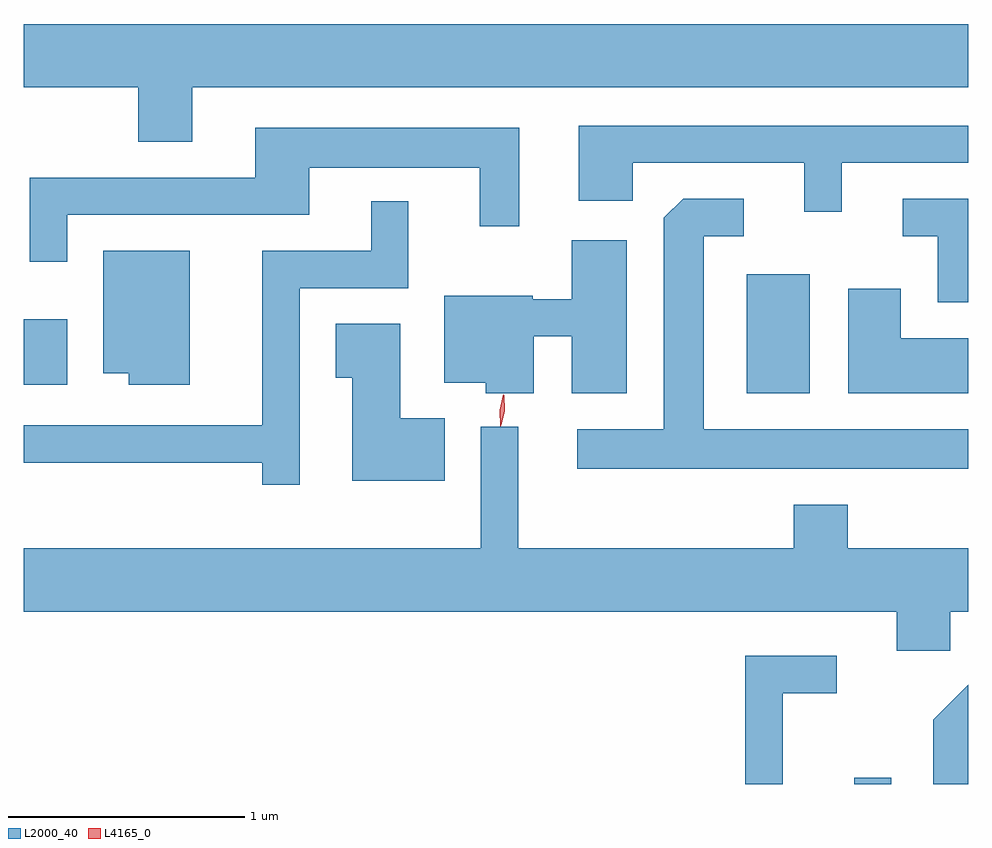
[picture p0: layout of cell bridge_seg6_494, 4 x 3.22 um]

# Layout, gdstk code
import gdstk
lib = gdstk.Library(unit=1e-6, precision=1e-09)
def R(c, l, rs):  # rectangles x0, y0, x1, y1
    for r in rs: c.add(gdstk.rectangle(r[:2], r[2:], *l))
def P(c, l, *ps):  # polygons
    for p in ps: c.add(gdstk.Polygon(p, *l))
L2000_40 = (2000, 40)
L4165_0 = (4165, 0)

bridge_seg6_494 = lib.new_cell('bridge_seg6_494')
R(bridge_seg6_494, L2000_40, [(884.336,1595.926,884.494,1595.953), (883.881,1597.581,884.149,1598.084), (880.82,1597.616,881.004,1597.894)])
P(bridge_seg6_494, L2000_40, [(881.534,1598.876),(884.82,1598.876),(884.82,1599.144),(880.82,1599.144),(880.82,1598.876),(881.306,1598.876),(881.306,1598.646),(881.534,1598.646)],
  [(884.284,1598.556),(884.82,1598.556),(884.82,1598.714),(883.171,1598.714),(883.171,1598.396),(883.399,1598.396),(883.399,1598.556),(884.126,1598.556),(884.126,1598.348),(884.284,1598.348)],
  [(881.004,1598.336),(882.029,1598.336),(882.029,1598.536),(882.751,1598.536),(882.751,1598.288),(882.919,1598.288),(882.919,1598.704),(881.801,1598.704),(881.801,1598.494),(880.846,1598.494),(880.846,1598.138),(881.004,1598.138)],
  [(884.82,1597.429),(883.699,1597.429),(883.699,1598.246),(883.868,1598.246),(883.868,1598.404),(883.612,1598.404),(883.531,1598.324),(883.531,1597.429),(883.163,1597.429),(883.163,1597.261),(884.82,1597.261)],
  [(884.82,1598.404),(884.543,1598.404),(884.543,1598.246),(884.691,1598.246),(884.691,1597.966),(884.82,1597.966)],
  [(881.989,1598.026),(882.449,1598.026),(882.449,1598.393),(882.291,1598.393),(882.291,1598.184),(881.831,1598.184),(881.831,1597.444),(880.82,1597.444),(880.82,1597.286),(881.831,1597.286),(881.831,1597.193),(881.989,1597.193)],
  [(882.979,1597.821),(883.141,1597.821),(883.141,1597.581),(883.374,1597.581),(883.374,1598.229),(883.141,1598.229),(883.141,1597.979),(882.975,1597.979),(882.975,1597.994),(882.601,1597.994),(882.601,1597.626),(882.776,1597.626),(882.776,1597.581),(882.979,1597.581)],
  [(881.524,1598.184),(881.156,1598.184),(881.156,1597.666),(881.266,1597.666),(881.266,1597.616),(881.524,1597.616)],
  [(884.82,1597.814),(884.534,1597.814),(884.534,1598.024),(884.311,1598.024),(884.311,1597.581),(884.82,1597.581)],
  [(882.604,1597.474),(882.414,1597.474),(882.414,1597.874),(882.141,1597.874),(882.141,1597.646),(882.211,1597.646),(882.211,1597.211),(882.604,1597.211)],
  [(884.744,1596.656),(884.82,1596.656),(884.82,1596.924),(884.309,1596.924),(884.309,1597.109),(884.081,1597.109),(884.081,1596.924),(882.914,1596.924),(882.914,1597.438),(882.756,1597.438),(882.756,1596.924),(880.82,1596.924),(880.82,1596.656),(884.516,1596.656),(884.516,1596.491),(884.744,1596.491)],
  [(884.034,1596.311),(884.263,1596.311),(884.263,1596.469),(883.876,1596.469),(883.876,1595.926),(884.034,1595.926)],
  [(884.82,1596.346),(884.671,1596.197),(884.671,1595.926),(884.82,1595.926)])
P(bridge_seg6_494, L4165_0, [(882.839,1597.44),(882.839,1597.441),(882.835,1597.509),(882.85,1597.576),(882.85,1597.576),(882.851,1597.576),(882.855,1597.507),(882.84,1597.441)],
  [(882.841,1597.443),(882.841,1597.444),(882.837,1597.508),(882.853,1597.571),(882.854,1597.571),(882.854,1597.571),(882.858,1597.506),(882.842,1597.444)])

lib.write_gds('bridge_seg6_494.gds')
